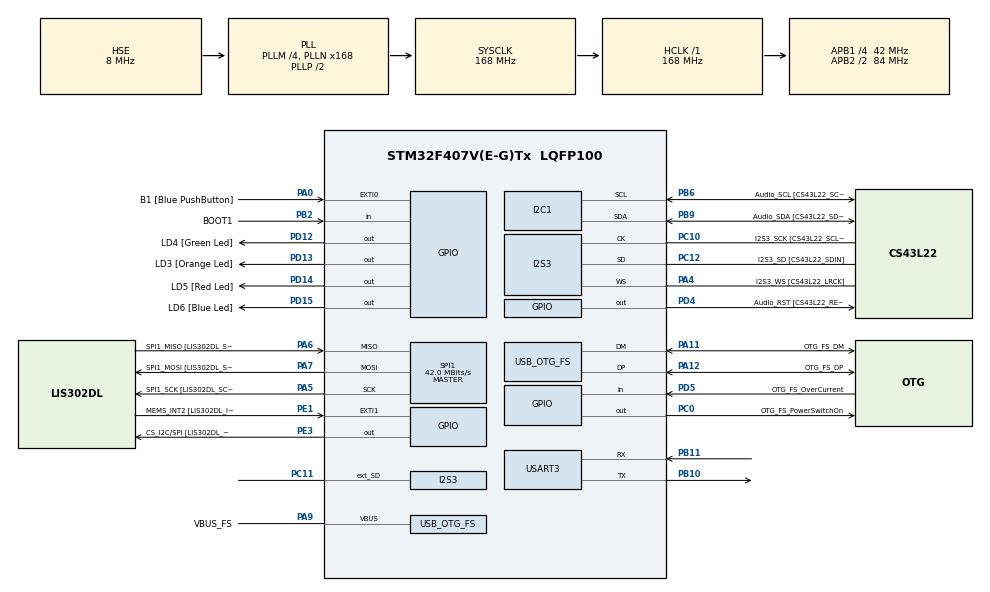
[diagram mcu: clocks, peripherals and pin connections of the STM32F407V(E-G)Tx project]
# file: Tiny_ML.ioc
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I2S3.AudioFreq=I2S_AUDIOFREQ_16K
I2S3.ErrorAudioFreq=0.0 %
I2S3.FullDuplexMode=I2S_FULLDUPLEXMODE_ENABLE
I2S3.Instance=SPI$Index
I2S3.RealAudioFreq=16.0 KHz
I2S3.VirtualMode=I2S_MODE_MASTER
Mcu.Family=STM32F4
Mcu.Name=STM32F407V(E-G)Tx
Mcu.Package=LQFP100
NVIC.OTG_FS_IRQn=true\:0\:0\:false\:false\:true\:false\:true\:true
NVIC.PriorityGroup=NVIC_PRIORITYGROUP_0
PA0-WKUP.GPIO_Label=B1 [Blue PushButton]
PA0-WKUP.Signal=GPXTI0
PA10.GPIO_Label=OTG_FS_ID
PA10.GPIO_Mode=GPIO_MODE_AF_PP
PA10.GPIO_PuPd=GPIO_NOPULL
PA10.GPIO_Speed=GPIO_SPEED_FREQ_LOW
PA10.Signal=USB_OTG_FS_ID
PA11.GPIO_Label=OTG_FS_DM
PA11.GPIO_Mode=GPIO_MODE_AF_PP
PA11.GPIO_PuPd=GPIO_NOPULL
PA11.GPIO_Speed=GPIO_SPEED_FREQ_LOW
PA11.Mode=Device_Only
PA11.Signal=USB_OTG_FS_DM
PA12.GPIO_Label=OTG_FS_DP
PA12.GPIO_Mode=GPIO_MODE_AF_PP
PA12.GPIO_PuPd=GPIO_NOPULL
PA12.GPIO_Speed=GPIO_SPEED_FREQ_LOW
PA12.Mode=Device_Only
PA12.Signal=USB_OTG_FS_DP
PA13.GPIO_Label=SWDIO
PA13.Signal=SYS_JTMS-SWDIO
PA14.GPIO_Label=SWCLK
PA14.Signal=SYS_JTCK-SWCLK
PA4.GPIO_Label=I2S3_WS [CS43L22_LRCK]
PA4.GPIO_Mode=GPIO_MODE_AF_PP
PA4.GPIO_PuPd=GPIO_NOPULL
PA4.GPIO_Speed=GPIO_SPEED_FREQ_LOW
PA4.Mode=Full_Duplex_Master
PA4.Signal=I2S3_WS
PA5.GPIO_Label=SPI1_SCK [LIS302DL_SCL/SPC]
PA5.GPIO_Mode=GPIO_MODE_AF_PP
PA5.GPIO_PuPd=GPIO_NOPULL
PA5.GPIO_Speed=GPIO_SPEED_FREQ_LOW
PA5.Mode=Full_Duplex_Master
PA5.Signal=SPI1_SCK
PA6.GPIO_Label=SPI1_MISO [LIS302DL_SDO]
PA6.GPIO_Mode=GPIO_MODE_AF_PP
PA6.GPIO_PuPd=GPIO_NOPULL
PA6.GPIO_Speed=GPIO_SPEED_FREQ_LOW
PA6.Mode=Full_Duplex_Master
PA6.Signal=SPI1_MISO
PA7.GPIO_Label=SPI1_MOSI [LIS302DL_SDA/SDI/SDO]
PA7.GPIO_Mode=GPIO_MODE_AF_PP
PA7.GPIO_PuPd=GPIO_NOPULL
PA7.GPIO_Speed=GPIO_SPEED_FREQ_LOW
PA7.Mode=Full_Duplex_Master
PA7.Signal=SPI1_MOSI
PA9.GPIO_Label=VBUS_FS
PA9.GPIO_Mode=GPIO_MODE_INPUT
PA9.GPIO_PuPd=GPIO_NOPULL
PA9.Mode=Activate_VBUS
PA9.Signal=USB_OTG_FS_VBUS
PB10.Mode=Asynchronous
PB10.Signal=USART3_TX
PB11.Mode=Asynchronous
PB11.Signal=USART3_RX
PB2.GPIO_Label=BOOT1
PB2.GPIO_Mode=GPIO_MODE_INPUT
PB2.GPIO_PuPd=GPIO_NOPULL
PB2.Signal=GPIO_Input
PB3.GPIO_Label=SWO
PB3.Signal=SYS_JTDO-SWO
PB6.GPIO_Label=Audio_SCL [CS43L22_SCL]
PB6.GPIO_Mode=GPIO_MODE_AF_OD
PB6.GPIO_PuPd=GPIO_NOPULL
PB6.GPIO_Speed=GPIO_SPEED_FREQ_LOW
PB6.Mode=I2C
PB6.Signal=I2C1_SCL
PB9.GPIO_Label=Audio_SDA [CS43L22_SDA]
PB9.GPIO_Mode=GPIO_MODE_AF_OD
PB9.GPIO_PuPd=GPIO_NOPULL
PB9.GPIO_Speed=GPIO_SPEED_FREQ_LOW
PB9.Mode=I2C
PB9.Signal=I2C1_SDA
PC0.GPIO_Label=OTG_FS_PowerSwitchOn
PC0.GPIO_PuPd=GPIO_NOPULL
PC0.GPIO_Speed=GPIO_SPEED_FREQ_LOW
PC0.PinState=GPIO_PIN_SET
PC0.Signal=GPIO_Output
PC10.GPIO_Label=I2S3_SCK [CS43L22_SCLK]
PC10.GPIO_Mode=GPIO_MODE_AF_PP
PC10.GPIO_PuPd=GPIO_NOPULL
PC10.GPIO_Speed=GPIO_SPEED_FREQ_LOW
PC10.Mode=Full_Duplex_Master
PC10.Signal=I2S3_CK
PC11.Mode=Full_Duplex_Master
PC11.Signal=I2S3_ext_SD
PC12.GPIO_Label=I2S3_SD [CS43L22_SDIN]
PC12.GPIO_Mode=GPIO_MODE_AF_PP
PC12.GPIO_PuPd=GPIO_NOPULL
PC12.GPIO_Speed=GPIO_SPEED_FREQ_LOW
PC12.Mode=Full_Duplex_Master
PC12.Signal=I2S3_SD
PC14-OSC32_IN.GPIO_Label=PC14-OSC32_IN
PC14-OSC32_IN.Signal=RCC_OSC32_IN
PC15-OSC32_OUT.GPIO_Label=PC15-OSC32_OUT
PC15-OSC32_OUT.Signal=RCC_OSC32_OUT
PC3.GPIO_Label=PDM_OUT [MP45DT02_DOUT]
PC3.GPIO_Mode=GPIO_MODE_AF_PP
PC3.GPIO_PuPd=GPIO_NOPULL
PC3.GPIO_Speed=GPIO_SPEED_FREQ_LOW
PC3.Signal=I2S2_SD
PC7.GPIO_Label=I2S3_MCK [CS43L22_MCLK]
PC7.GPIO_Mode=GPIO_MODE_AF_PP
PC7.GPIO_PuPd=GPIO_NOPULL
PC7.GPIO_Speed=GPIO_SPEED_FREQ_LOW
PC7.Signal=I2S3_MCK
PD12.GPIO_Label=LD4 [Green Led]
PD12.GPIO_PuPd=GPIO_NOPULL
PD12.GPIO_Speed=GPIO_SPEED_FREQ_LOW
PD12.Signal=GPIO_Output
PD13.GPIO_Label=LD3 [Orange Led]
PD13.GPIO_PuPd=GPIO_NOPULL
PD13.GPIO_Speed=GPIO_SPEED_FREQ_LOW
PD13.Signal=GPIO_Output
PD14.GPIO_Label=LD5 [Red Led]
PD14.GPIO_PuPd=GPIO_NOPULL
PD14.GPIO_Speed=GPIO_SPEED_FREQ_LOW
PD14.Signal=GPIO_Output
PD15.GPIO_Label=LD6 [Blue Led]
PD15.GPIO_PuPd=GPIO_NOPULL
PD15.GPIO_Speed=GPIO_SPEED_FREQ_LOW
PD15.Signal=GPIO_Output
PD4.GPIO_Label=Audio_RST [CS43L22_RESET]
PD4.GPIO_PuPd=GPIO_NOPULL
PD4.GPIO_Speed=GPIO_SPEED_FREQ_LOW
PD4.Signal=GPIO_Output
PD5.GPIO_Label=OTG_FS_OverCurrent
PD5.GPIO_Mode=GPIO_MODE_INPUT
PD5.GPIO_PuPd=GPIO_NOPULL
PD5.Signal=GPIO_Input
PE1.GPIO_Label=MEMS_INT2 [LIS302DL_INT2]
PE1.GPIO_ModeDefaultEXTI=GPIO_MODE_EVT_RISING
PE1.GPIO_PuPd=GPIO_NOPULL
PE1.Signal=GPXTI1
PE3.GPIO_Label=CS_I2C/SPI [LIS302DL_CS_I2C/SPI]
PE3.GPIO_PuPd=GPIO_NOPULL
PE3.GPIO_Speed=GPIO_SPEED_FREQ_LOW
PE3.Signal=GPIO_Output
PH0-OSC_IN.GPIO_Label=PH0-OSC_IN
PH0-OSC_IN.Mode=HSE-External-Oscillator
PH0-OSC_IN.Signal=RCC_OSC_IN
PH1-OSC_OUT.GPIO_Label=PH1-OSC_OUT
PH1-OSC_OUT.Mode=HSE-External-Oscillator
PH1-OSC_OUT.Signal=RCC_OSC_OUT
ProjectManager.HeapSize=0x800
ProjectManager.StackSize=0x800
ProjectManager.TargetToolchain=STM32CubeIDE
RCC.48MHZClocksFreq_Value=48000000
RCC.AHBFreq_Value=168000000
RCC.APB1CLKDivider=RCC_HCLK_DIV4
RCC.APB1Freq_Value=42000000
RCC.APB1TimFreq_Value=84000000
RCC.APB2CLKDivider=RCC_HCLK_DIV2
RCC.APB2Freq_Value=84000000
RCC.APB2TimFreq_Value=168000000
RCC.CortexFreq_Value=168000000
RCC.HCLKFreq_Value=168000000
RCC.HSE_VALUE=8000000
RCC.HSI_VALUE=16000000
RCC.LSE_VALUE=32768
RCC.PLLM=4
RCC.PLLN=168
RCC.PLLQ=7
RCC.SYSCLKFreq_VALUE=168000000
RCC.SYSCLKSource=RCC_SYSCLKSOURCE_PLLCLK
RCC.VCOOutputFreq_Value=336000000
SPI1.CalculateBaudRate=42.0 MBits/s
SPI1.Direction=SPI_DIRECTION_2LINES
SPI1.Mode=SPI_MODE_MASTER
SPI1.VirtualType=VM_MASTER
STMicroelectronics.X-CUBE-AI.9.1.0.ActivationBufferSizeList=1760
STMicroelectronics.X-CUBE-AI.9.1.0.ActivationBuffers=pool0
STMicroelectronics.X-CUBE-AI.9.1.0.ActivationNames=pool0
STMicroelectronics.X-CUBE-AI.9.1.0.ActivationSizes=AI_NETWORK_DATA_ACTIVATION_1_SIZE
STMicroelectronics.X-CUBE-AI.9.1.0.HeapSize=0x800
STMicroelectronics.X-CUBE-AI.9.1.0.InternalRamActivationBufferMaxSize=AI_NETWORK_DATA_ACTIVATIONS_SIZE
STMicroelectronics.X-CUBE-AI.9.1.0.LatestDirectoryUsed-255c33599dc6356924dcfbd095b0057b0a07d0eed83c80ba0708c8869b0f7bde=C\:\\Users\\taher\\Downloads
STMicroelectronics.X-CUBE-AI.9.1.0.MaximumNumberOfInputLayer=1
STMicroelectronics.X-CUBE-AI.9.1.0.MaximumNumberOfOutputLayer=1
STMicroelectronics.X-CUBE-AI.9.1.0.MaximumSizeOfInputLayer=1
STMicroelectronics.X-CUBE-AI.9.1.0.MaximumSizeOfOutputLayer=1
STMicroelectronics.X-CUBE-AI.9.1.0.ModelActualCompression-255c33599dc6356924dcfbd095b0057b0a07d0eed83c80ba0708c8869b0f7bde=0.0
STMicroelectronics.X-CUBE-AI.9.1.0.ModelCompression-255c33599dc6356924dcfbd095b0057b0a07d0eed83c80ba0708c8869b0f7bde=None
STMicroelectronics.X-CUBE-AI.9.1.0.ModelFlashOccupation-255c33599dc6356924dcfbd095b0057b0a07d0eed83c80ba0708c8869b0f7bde=48300
STMicroelectronics.X-CUBE-AI.9.1.0.ModelHashList=255c33599dc6356924dcfbd095b0057b0a07d0eed83c80ba0708c8869b0f7bde
STMicroelectronics.X-CUBE-AI.9.1.0.ModelKind-255c33599dc6356924dcfbd095b0057b0a07d0eed83c80ba0708c8869b0f7bde=KERAS
STMicroelectronics.X-CUBE-AI.9.1.0.ModelMacc-255c33599dc6356924dcfbd095b0057b0a07d0eed83c80ba0708c8869b0f7bde=24120
STMicroelectronics.X-CUBE-AI.9.1.0.ModelName-255c33599dc6356924dcfbd095b0057b0a07d0eed83c80ba0708c8869b0f7bde=network
STMicroelectronics.X-CUBE-AI.9.1.0.ModelNameList=network
STMicroelectronics.X-CUBE-AI.9.1.0.ModelRamOccupation-255c33599dc6356924dcfbd095b0057b0a07d0eed83c80ba0708c8869b0f7bde=1760
STMicroelectronics.X-CUBE-AI.9.1.0.ModelStructureFile-255c33599dc6356924dcfbd095b0057b0a07d0eed83c80ba0708c8869b0f7bde=C\:\\Users\\taher\\Downloads\\model.h5
STMicroelectronics.X-CUBE-AI.9.1.0.ModelType-255c33599dc6356924dcfbd095b0057b0a07d0eed83c80ba0708c8869b0f7bde=STM32Cube.AI MCU runtime
STMicroelectronics.X-CUBE-AI.9.1.0.ReadyForCodeGeneration=true
STMicroelectronics.X-CUBE-AI.9.1.0.StackSize=0x800
STMicroelectronics.X-CUBE-AI.9.1.0.WorkingBufferStartAddrList=0xFFFFFFFF
STMicroelectronics.X-CUBE-AI.9.1.0.XAaCUBEAaAICcArtificialOoIntelligenceJjCore=true
STMicroelectronics.X-CUBE-AI.9.1.0.copyWeightToRam-255c33599dc6356924dcfbd095b0057b0a07d0eed83c80ba0708c8869b0f7bde=false
STMicroelectronics.X-CUBE-AI.9.1.0.customLayerConfigEnabled-255c33599dc6356924dcfbd095b0057b0a07d0eed83c80ba0708c8869b0f7bde=false
STMicroelectronics.X-CUBE-AI.9.1.0.noOnnxIoTranspose-255c33599dc6356924dcfbd095b0057b0a07d0eed83c80ba0708c8869b0f7bde=false
STMicroelectronics.X-CUBE-AI.9.1.0.useInputAllocation-255c33599dc6356924dcfbd095b0057b0a07d0eed83c80ba0708c8869b0f7bde=true
STMicroelectronics.X-CUBE-AI.9.1.0.useOutputAllocation-255c33599dc6356924dcfbd095b0057b0a07d0eed83c80ba0708c8869b0f7bde=true
USART3.VirtualMode=VM_ASYNC
USB_DEVICE.CLASS_NAME_FS=CDC
USB_DEVICE.VirtualMode-CDC_FS=Cdc
USB_DEVICE.VirtualModeFS=Cdc_FS
USB_OTG_FS.VirtualMode=Device_Only
VP_STMicroelectronics.X-CUBE-AI_VS_ArtificialOoIntelligenceJjXAaCUBEAaAI_9.1.0.Mode=ArtificialOoIntelligenceJjXAaCUBEAaAI
VP_USB_DEVICE_VS_USB_DEVICE_CDC_FS.Mode=CDC_FS
board=STM32F407G-DISC1

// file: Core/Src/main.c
/* USER CODE BEGIN Header */
/**
  ******************************************************************************
  * @file           : main.c
  * @brief          : Main program body
  ******************************************************************************
  * @attention
  *
  * Copyright (c) 2024 STMicroelectronics.
  * All rights reserved.
  *
  * This software is licensed under terms that can be found in the LICENSE file
  * in the root directory of this software component.
  * If no LICENSE file comes with this software, it is provided AS-IS.
  *
  ******************************************************************************
  */
/* USER CODE END Header */
#include "main.h"
#include "usb_device.h"

/* USER CODE BEGIN Includes */
#include "stm32f4_discovery_accelerometer.h"

#include "ai_platform.h"
#include "network.h"
#include "network_data.h"
/* USER CODE END Includes */

I2C_HandleTypeDef hi2c1;

I2S_HandleTypeDef hi2s3;

SPI_HandleTypeDef hspi1;

UART_HandleTypeDef huart3;

/* USER CODE BEGIN PV */
int16_t accData[3];
int8_t  strTemp[100];

ai_handle network;
float aiInData[AI_NETWORK_IN_1_SIZE];
float aiOutData[AI_NETWORK_OUT_1_SIZE];
ai_u8 activations[AI_NETWORK_DATA_ACTIVATIONS_SIZE];
const char* activities[AI_NETWORK_OUT_1_SIZE] = {
  "stationary", "walking", "running"
};
ai_buffer * ai_input;
ai_buffer * ai_output;
/* USER CODE END PV */

void SystemClock_Config(void);
static void MX_GPIO_Init(void);
static void MX_I2C1_Init(void);
static void MX_I2S3_Init(void);
static void MX_SPI1_Init(void);
static void MX_USART3_UART_Init(void);
/* USER CODE BEGIN PFP */
static void AI_Init(void);
static void AI_Run(float *pIn, float *pOut);
static uint32_t argmax(const float * values, uint32_t len);
/* USER CODE END PFP */

int main(void)
{

  /* MCU Configuration--------------------------------------------------------*/

  /* Reset of all peripherals, Initializes the Flash interface and the Systick. */
  HAL_Init();

  /* Configure the system clock */
  SystemClock_Config();

  /* Initialize all configured peripherals */
  MX_GPIO_Init();
  MX_USB_DEVICE_Init();
  MX_I2C1_Init();
  MX_I2S3_Init();
  MX_SPI1_Init();
  MX_USART3_UART_Init();
  /* USER CODE BEGIN 2 */
  if (BSP_ACCELERO_Init()!= ACCELERO_OK)
  {
	  while(1){
		  CDC_Transmit_FS("ACC_Init_Error\r\n",16);
		  HAL_GPIO_ReadPin(LD3_GPIO_Port, LD3_Pin);
		  HAL_Delay(100);
	  }
  }
  AI_Init();
  /* USER CODE END 2 */

  /* Infinite loop */
  /* USER CODE BEGIN WHILE */
  uint32_t write_index = 0;

  while (1)
  {
	  BSP_ACCELERO_GetXYZ(accData);
	  	//printf("% 5d, % 5d, % 5d\r\n",  (int) accData[0], (int) accData[1], (int) accData[2]); // usart_affichage
	  	//sprintf(strTemp,"ACC X:%d, Y:%d, Z:%d\r\n ",accData[0],accData[1],accData[2]);         //Virtual_com_port_affichage
	  	//CDC_Transmit_FS(strTemp,strlen(strTemp));

	      /*CDC_Transmit_FS("Hello\r\n",7);
	  	HAL_GPIO_TogglePin(LD5_GPIO_Port, LD5_Pin);*/
	  	 /* Normalize data to [-1; 1] and accumulate into input buffer */
	  	      /* Note: window overlapping can be managed here */
	  aiInData[write_index + 0] = (float) accData[0] / 4000.0f;
	  aiInData[write_index + 1] = (float) accData[1] / 4000.0f;
	  aiInData[write_index + 2] = (float) accData[2] / 4000.0f;
	  write_index += 3;
	  if (write_index == AI_NETWORK_IN_1_SIZE) {
		write_index = 0;
		printf("Running inference\r\n");
		AI_Run(aiInData, aiOutData);
		/* Output results */
		for (uint32_t i = 0; i < AI_NETWORK_OUT_1_SIZE; i++) {
		  printf("%8.6f ", aiOutData[i]);         }
		uint32_t class = argmax(aiOutData, AI_NETWORK_OUT_1_SIZE);
		printf(": %d - %s\r\n", (int) class, activities[class]);         }
	  HAL_GPIO_TogglePin(LD5_GPIO_Port, LD5_Pin);
	  HAL_Delay(50);
    /* USER CODE END WHILE */

  }
}

void SystemClock_Config(void)
{
  RCC_OscInitTypeDef RCC_OscInitStruct = {0};
  RCC_ClkInitTypeDef RCC_ClkInitStruct = {0};

  /** Configure the main internal regulator output voltage
  */
  __HAL_RCC_PWR_CLK_ENABLE();
  __HAL_PWR_VOLTAGESCALING_CONFIG(PWR_REGULATOR_VOLTAGE_SCALE1);

  /** Initializes the RCC Oscillators according to the specified parameters
  * in the RCC_OscInitTypeDef structure.
  */
  RCC_OscInitStruct.OscillatorType = RCC_OSCILLATORTYPE_HSE;
  RCC_OscInitStruct.HSEState = RCC_HSE_ON;
  RCC_OscInitStruct.PLL.PLLState = RCC_PLL_ON;
  RCC_OscInitStruct.PLL.PLLSource = RCC_PLLSOURCE_HSE;
  RCC_OscInitStruct.PLL.PLLM = 4;
  RCC_OscInitStruct.PLL.PLLN = 168;
  RCC_OscInitStruct.PLL.PLLP = RCC_PLLP_DIV2;
  RCC_OscInitStruct.PLL.PLLQ = 7;
  if (HAL_RCC_OscConfig(&RCC_OscInitStruct) != HAL_OK)
  {
    Error_Handler();
  }

  /** Initializes the CPU, AHB and APB buses clocks
  */
  RCC_ClkInitStruct.ClockType = RCC_CLOCKTYPE_HCLK|RCC_CLOCKTYPE_SYSCLK
                              |RCC_CLOCKTYPE_PCLK1|RCC_CLOCKTYPE_PCLK2;
  RCC_ClkInitStruct.SYSCLKSource = RCC_SYSCLKSOURCE_PLLCLK;
  RCC_ClkInitStruct.AHBCLKDivider = RCC_SYSCLK_DIV1;
  RCC_ClkInitStruct.APB1CLKDivider = RCC_HCLK_DIV4;
  RCC_ClkInitStruct.APB2CLKDivider = RCC_HCLK_DIV2;

  if (HAL_RCC_ClockConfig(&RCC_ClkInitStruct, FLASH_LATENCY_5) != HAL_OK)
  {
    Error_Handler();
  }
}

static void MX_I2C1_Init(void)
{

  hi2c1.Instance = I2C1;
  hi2c1.Init.ClockSpeed = 100000;
  hi2c1.Init.DutyCycle = I2C_DUTYCYCLE_2;
  hi2c1.Init.OwnAddress1 = 0;
  hi2c1.Init.AddressingMode = I2C_ADDRESSINGMODE_7BIT;
  hi2c1.Init.DualAddressMode = I2C_DUALADDRESS_DISABLE;
  hi2c1.Init.OwnAddress2 = 0;
  hi2c1.Init.GeneralCallMode = I2C_GENERALCALL_DISABLE;
  hi2c1.Init.NoStretchMode = I2C_NOSTRETCH_DISABLE;
  if (HAL_I2C_Init(&hi2c1) != HAL_OK)
  {
    Error_Handler();
  }

}

static void MX_I2S3_Init(void)
{

  hi2s3.Instance = SPI3;
  hi2s3.Init.Mode = I2S_MODE_MASTER_TX;
  hi2s3.Init.Standard = I2S_STANDARD_PHILIPS;
  hi2s3.Init.DataFormat = I2S_DATAFORMAT_16B;
  hi2s3.Init.MCLKOutput = I2S_MCLKOUTPUT_DISABLE;
  hi2s3.Init.AudioFreq = I2S_AUDIOFREQ_16K;
  hi2s3.Init.CPOL = I2S_CPOL_LOW;
  hi2s3.Init.ClockSource = I2S_CLOCK_PLL;
  hi2s3.Init.FullDuplexMode = I2S_FULLDUPLEXMODE_ENABLE;
  if (HAL_I2S_Init(&hi2s3) != HAL_OK)
  {
    Error_Handler();
  }

}

static void MX_SPI1_Init(void)
{

  /* SPI1 parameter configuration*/
  hspi1.Instance = SPI1;
  hspi1.Init.Mode = SPI_MODE_MASTER;
  hspi1.Init.Direction = SPI_DIRECTION_2LINES;
  hspi1.Init.DataSize = SPI_DATASIZE_8BIT;
  hspi1.Init.CLKPolarity = SPI_POLARITY_LOW;
  hspi1.Init.CLKPhase = SPI_PHASE_1EDGE;
  hspi1.Init.NSS = SPI_NSS_SOFT;
  hspi1.Init.BaudRatePrescaler = SPI_BAUDRATEPRESCALER_2;
  hspi1.Init.FirstBit = SPI_FIRSTBIT_MSB;
  hspi1.Init.TIMode = SPI_TIMODE_DISABLE;
  hspi1.Init.CRCCalculation = SPI_CRCCALCULATION_DISABLE;
  hspi1.Init.CRCPolynomial = 10;
  if (HAL_SPI_Init(&hspi1) != HAL_OK)
  {
    Error_Handler();
  }

}

static void MX_USART3_UART_Init(void)
{

  huart3.Instance = USART3;
  huart3.Init.BaudRate = 115200;
  huart3.Init.WordLength = UART_WORDLENGTH_8B;
  huart3.Init.StopBits = UART_STOPBITS_1;
  huart3.Init.Parity = UART_PARITY_NONE;
  huart3.Init.Mode = UART_MODE_TX_RX;
  huart3.Init.HwFlowCtl = UART_HWCONTROL_NONE;
  huart3.Init.OverSampling = UART_OVERSAMPLING_16;
  if (HAL_UART_Init(&huart3) != HAL_OK)
  {
    Error_Handler();
  }

}

static void MX_GPIO_Init(void)
{
  GPIO_InitTypeDef GPIO_InitStruct = {0};

  /* GPIO Ports Clock Enable */
  __HAL_RCC_GPIOE_CLK_ENABLE();
  __HAL_RCC_GPIOC_CLK_ENABLE();
  __HAL_RCC_GPIOH_CLK_ENABLE();
  __HAL_RCC_GPIOA_CLK_ENABLE();
  __HAL_RCC_GPIOB_CLK_ENABLE();
  __HAL_RCC_GPIOD_CLK_ENABLE();

  /*Configure GPIO pin Output Level */
  HAL_GPIO_WritePin(CS_I2C_SPI_GPIO_Port, CS_I2C_SPI_Pin, GPIO_PIN_RESET);

  /*Configure GPIO pin Output Level */
  HAL_GPIO_WritePin(OTG_FS_PowerSwitchOn_GPIO_Port, OTG_FS_PowerSwitchOn_Pin, GPIO_PIN_SET);

  /*Configure GPIO pin Output Level */
  HAL_GPIO_WritePin(GPIOD, LD4_Pin|LD3_Pin|LD5_Pin|LD6_Pin
                          |Audio_RST_Pin, GPIO_PIN_RESET);

  /*Configure GPIO pin : CS_I2C_SPI_Pin */
  GPIO_InitStruct.Pin = CS_I2C_SPI_Pin;
  GPIO_InitStruct.Mode = GPIO_MODE_OUTPUT_PP;
  GPIO_InitStruct.Pull = GPIO_NOPULL;
  GPIO_InitStruct.Speed = GPIO_SPEED_FREQ_LOW;
  HAL_GPIO_Init(CS_I2C_SPI_GPIO_Port, &GPIO_InitStruct);

  /*Configure GPIO pin : OTG_FS_PowerSwitchOn_Pin */
  GPIO_InitStruct.Pin = OTG_FS_PowerSwitchOn_Pin;
  GPIO_InitStruct.Mode = GPIO_MODE_OUTPUT_PP;
  GPIO_InitStruct.Pull = GPIO_NOPULL;
  GPIO_InitStruct.Speed = GPIO_SPEED_FREQ_LOW;
  HAL_GPIO_Init(OTG_FS_PowerSwitchOn_GPIO_Port, &GPIO_InitStruct);

  /*Configure GPIO pin : PDM_OUT_Pin */
  GPIO_InitStruct.Pin = PDM_OUT_Pin;
  GPIO_InitStruct.Mode = GPIO_MODE_AF_PP;
  GPIO_InitStruct.Pull = GPIO_NOPULL;
  GPIO_InitStruct.Speed = GPIO_SPEED_FREQ_LOW;
  GPIO_InitStruct.Alternate = GPIO_AF5_SPI2;
  HAL_GPIO_Init(PDM_OUT_GPIO_Port, &GPIO_InitStruct);

  /*Configure GPIO pin : B1_Pin */
  GPIO_InitStruct.Pin = B1_Pin;
  GPIO_InitStruct.Mode = GPIO_MODE_IT_RISING;
  GPIO_InitStruct.Pull = GPIO_NOPULL;
  HAL_GPIO_Init(B1_GPIO_Port, &GPIO_InitStruct);

  /*Configure GPIO pin : BOOT1_Pin */
  GPIO_InitStruct.Pin = BOOT1_Pin;
  GPIO_InitStruct.Mode = GPIO_MODE_INPUT;
  GPIO_InitStruct.Pull = GPIO_NOPULL;
  HAL_GPIO_Init(BOOT1_GPIO_Port, &GPIO_InitStruct);

  /*Configure GPIO pins : LD4_Pin LD3_Pin LD5_Pin LD6_Pin
                           Audio_RST_Pin */
  GPIO_InitStruct.Pin = LD4_Pin|LD3_Pin|LD5_Pin|LD6_Pin
                          |Audio_RST_Pin;
  GPIO_InitStruct.Mode = GPIO_MODE_OUTPUT_PP;
  GPIO_InitStruct.Pull = GPIO_NOPULL;
  GPIO_InitStruct.Speed = GPIO_SPEED_FREQ_LOW;
  HAL_GPIO_Init(GPIOD, &GPIO_InitStruct);

  /*Configure GPIO pin : OTG_FS_OverCurrent_Pin */
  GPIO_InitStruct.Pin = OTG_FS_OverCurrent_Pin;
  GPIO_InitStruct.Mode = GPIO_MODE_INPUT;
  GPIO_InitStruct.Pull = GPIO_NOPULL;
  HAL_GPIO_Init(OTG_FS_OverCurrent_GPIO_Port, &GPIO_InitStruct);

  /*Configure GPIO pin : MEMS_INT2_Pin */
  GPIO_InitStruct.Pin = MEMS_INT2_Pin;
  GPIO_InitStruct.Mode = GPIO_MODE_EVT_RISING;
  GPIO_InitStruct.Pull = GPIO_NOPULL;
  HAL_GPIO_Init(MEMS_INT2_GPIO_Port, &GPIO_InitStruct);

}

/* USER CODE BEGIN 4 */
static void AI_Init(void)
{
  ai_error err;

  /* Create a local array with the addresses of the activations buffers */
  const ai_handle act_addr[] = { activations };
  /* Create an instance of the model */
  err = ai_network_create_and_init(&network, act_addr, NULL);
  if (err.type != AI_ERROR_NONE) {
    printf("ai_network_create error - type=%d code=%d\r\n", err.type, err.code);
    Error_Handler();
  }
  ai_input = ai_network_inputs_get(network, NULL);
  ai_output = ai_network_outputs_get(network, NULL);
}

static void AI_Run(float *pIn, float *pOut)
{
  ai_i32 batch;
  ai_error err;

  /* Update IO handlers with the data payload */
  ai_input[0].data = AI_HANDLE_PTR(pIn);
  ai_output[0].data = AI_HANDLE_PTR(pOut);

  batch = ai_network_run(network, ai_input, ai_output);
  if (batch != 1) {
    err = ai_network_get_error(network);
    printf("AI ai_network_run error - type=%d code=%d\r\n", err.type, err.code);
    Error_Handler();
  }
}
static uint32_t argmax(const float * values, uint32_t len)
{
  float max_value = values[0];
  uint32_t max_index = 0;
  for (uint32_t i = 1; i < len; i++) {
    if (values[i] > max_value) {
      max_value = values[i];
      max_index = i;
    }
  }
  return max_index;
}

int _write(int fd, char * ptr, int len)
{
  HAL_UART_Transmit(&huart3, (uint8_t *) ptr, len, HAL_MAX_DELAY);
  return len;
}
/* USER CODE END 4 */

void Error_Handler(void)
{
  __disable_irq();
  while (1)
  {
  }
}
